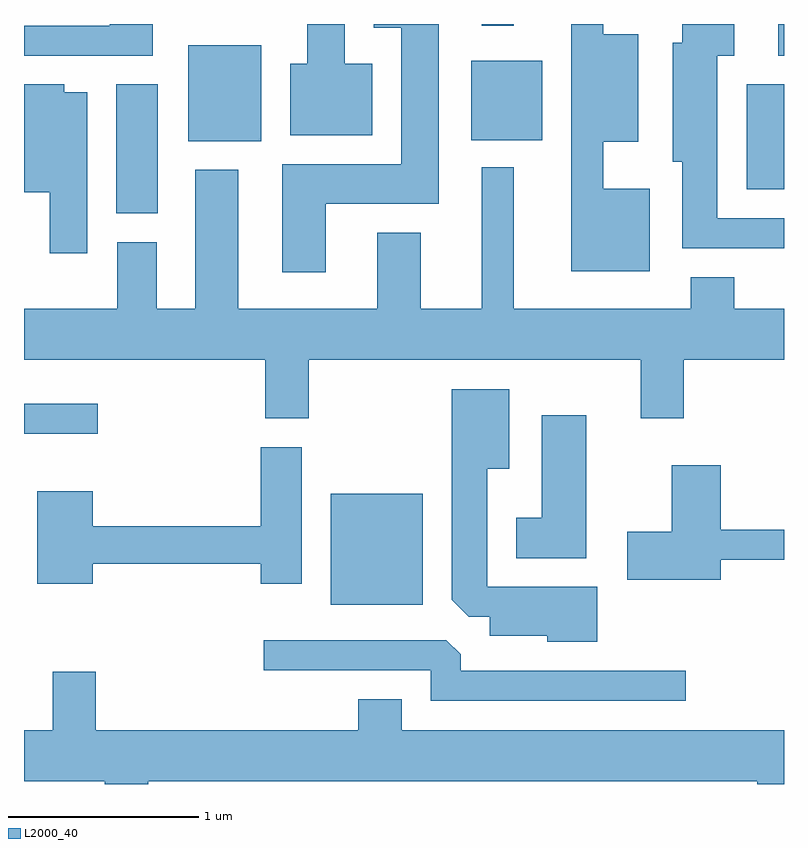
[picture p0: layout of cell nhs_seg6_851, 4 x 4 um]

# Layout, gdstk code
import gdstk
lib = gdstk.Library(unit=1e-6, precision=1e-09)
def R(c, l, rs):  # rectangles x0, y0, x1, y1
    for r in rs: c.add(gdstk.rectangle(r[:2], r[2:], *l))
def P(c, l, *ps):  # polygons
    for p in ps: c.add(gdstk.Polygon(p, *l))
L2000_40 = (2000, 40)

nhs_seg6_851 = lib.new_cell('nhs_seg6_851')
R(nhs_seg6_851, L2000_40, [(211.226,1633.106,211.709,1633.689), (209.611,1634.006,209.998,1634.164), (210.096,1635.166,210.314,1635.844), (213.416,1635.291,213.611,1635.844), (210.476,1635.546,210.859,1636.049), (211.966,1635.551,212.339,1635.969), (213.581,1635.996,213.611,1636.162), (212.021,1636.153,212.189,1636.162)])
P(nhs_seg6_851, L2000_40, [(212.904,1635.294),(212.659,1635.294),(212.659,1635.541),(212.844,1635.541),(212.844,1636.109),(212.659,1636.109),(212.659,1636.162),(212.491,1636.162),(212.491,1634.861),(212.904,1634.861)],
  [(210.289,1636.162),(210.061,1636.162),(210.061,1636.154),(209.611,1636.154),(209.611,1635.996),(210.289,1635.996)],
  [(211.199,1635.216),(211.794,1635.216),(211.794,1636.162),(211.451,1636.162),(211.451,1636.141),(211.596,1636.141),(211.596,1635.424),(210.971,1635.424),(210.971,1634.856),(211.199,1634.856)],
  [(211.444,1635.954),(211.299,1635.954),(211.299,1636.162),(211.101,1636.162),(211.101,1635.954),(211.011,1635.954),(211.011,1635.576),(211.444,1635.576)],
  [(213.611,1635.139),(213.259,1635.139),(213.259,1635.996),(213.349,1635.996),(213.349,1636.162),(213.076,1636.162),(213.076,1636.064),(213.026,1636.064),(213.026,1635.436),(213.076,1635.436),(213.076,1634.981),(213.611,1634.981)],
  [(209.944,1635.804),(209.824,1635.804),(209.824,1635.844),(209.611,1635.844),(209.611,1635.276),(209.746,1635.276),(209.746,1634.956),(209.944,1634.956)],
  [(211.109,1634.396),(212.856,1634.396),(212.856,1634.086),(213.084,1634.086),(213.084,1634.396),(213.611,1634.396),(213.611,1634.664),(213.349,1634.664),(213.349,1634.829),(213.121,1634.829),(213.121,1634.664),(212.189,1634.664),(212.189,1635.408),(212.021,1635.408),(212.021,1634.664),(211.699,1634.664),(211.699,1635.064),(211.471,1635.064),(211.471,1634.664),(210.739,1634.664),(210.739,1635.394),(210.511,1635.394),(210.511,1634.664),(210.309,1634.664),(210.309,1635.014),(210.101,1635.014),(210.101,1634.664),(209.611,1634.664),(209.611,1634.396),(210.881,1634.396),(210.881,1634.086),(211.109,1634.086)],
  [(212.629,1633.199),(212.049,1633.199),(212.049,1633.821),(212.164,1633.821),(212.164,1634.239),(211.861,1634.239),(211.861,1633.132),(211.952,1633.041),(212.061,1633.041),(212.061,1632.941),(212.366,1632.941),(212.366,1632.911),(212.629,1632.911)],
  [(212.569,1634.104),(212.336,1634.104),(212.336,1633.564),(212.201,1633.564),(212.201,1633.351),(212.569,1633.351)],
  [(209.974,1633.321),(210.856,1633.321),(210.856,1633.216),(211.074,1633.216),(211.074,1633.934),(210.856,1633.934),(210.856,1633.519),(209.974,1633.519),(209.974,1633.704),(209.681,1633.704),(209.681,1633.216),(209.974,1633.216)],
  [(213.279,1633.341),(213.611,1633.341),(213.611,1633.499),(213.279,1633.499),(213.279,1633.839),(213.021,1633.839),(213.021,1633.489),(212.786,1633.489),(212.786,1633.236),(213.279,1633.236)],
  [(213.093,1632.759),(211.909,1632.759),(211.909,1632.844),(211.834,1632.919),(210.873,1632.919),(210.873,1632.761),(211.751,1632.761),(211.751,1632.601),(213.093,1632.601)],
  [(210.264,1632.176),(213.471,1632.176),(213.471,1632.162),(213.611,1632.162),(213.611,1632.444),(211.599,1632.444),(211.599,1632.609),(211.371,1632.609),(211.371,1632.444),(209.989,1632.444),(209.989,1632.754),(209.761,1632.754),(209.761,1632.444),(209.611,1632.444),(209.611,1632.176),(210.036,1632.176),(210.036,1632.162),(210.264,1632.162)])

lib.write_gds('nhs_seg6_851.gds')
